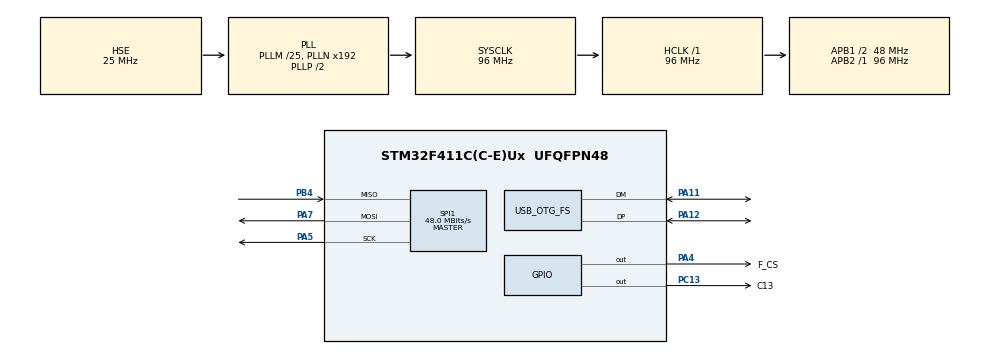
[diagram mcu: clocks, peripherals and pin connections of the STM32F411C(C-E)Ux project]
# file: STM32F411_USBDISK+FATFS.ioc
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FATFS._CODE_PAGE=936
FATFS._LFN_UNICODE=0
FATFS._MAX_SS=4096
FATFS._MIN_SS=4096
FATFS._STRF_ENCODE=0
FATFS._USE_LFN=2
FREERTOS.HEAP_NUMBER=4
FREERTOS.Tasks01=defaultTask,0,512,StartDefaultTask,Default,NULL,Dynamic,NULL,NULL
FREERTOS.configTOTAL_HEAP_SIZE=15360
Mcu.Family=STM32F4
Mcu.Name=STM32F411C(C-E)Ux
Mcu.Package=UFQFPN48
NVIC.OTG_FS_IRQn=true\:5\:0\:false\:false\:true\:true\:true\:true
NVIC.PriorityGroup=NVIC_PRIORITYGROUP_4
NVIC.SPI1_IRQn=true\:5\:0\:false\:false\:true\:true\:true\:true
NVIC.TIM1_TRG_COM_TIM11_IRQn=true\:0\:0\:false\:false\:true\:false\:false\:true
NVIC.TimeBase=TIM1_TRG_COM_TIM11_IRQn
NVIC.TimeBaseIP=TIM11
PA11.Mode=Device_Only
PA11.Signal=USB_OTG_FS_DM
PA12.Mode=Device_Only
PA12.Signal=USB_OTG_FS_DP
PA13.Mode=Serial_Wire
PA13.Signal=SYS_JTMS-SWDIO
PA14.Mode=Serial_Wire
PA14.Signal=SYS_JTCK-SWCLK
PA4.GPIO_Label=F_CS
PA4.GPIO_Speed=GPIO_SPEED_FREQ_VERY_HIGH
PA4.PinState=GPIO_PIN_SET
PA4.Signal=GPIO_Output
PA5.Mode=Full_Duplex_Master
PA5.Signal=SPI1_SCK
PA7.Mode=Full_Duplex_Master
PA7.Signal=SPI1_MOSI
PB4.Mode=Full_Duplex_Master
PB4.Signal=SPI1_MISO
PC13-ANTI_TAMP.GPIO_Label=C13
PC13-ANTI_TAMP.GPIO_Speed=GPIO_SPEED_FREQ_LOW
PC13-ANTI_TAMP.PinState=GPIO_PIN_SET
PC13-ANTI_TAMP.Signal=GPIO_Output
PC14-OSC32_IN.Mode=LSE-External-Oscillator
PC14-OSC32_IN.Signal=RCC_OSC32_IN
PC15-OSC32_OUT.Mode=LSE-External-Oscillator
PC15-OSC32_OUT.Signal=RCC_OSC32_OUT
PH0\ -\ OSC_IN.Mode=HSE-External-Oscillator
PH0\ -\ OSC_IN.Signal=RCC_OSC_IN
PH1\ -\ OSC_OUT.Mode=HSE-External-Oscillator
PH1\ -\ OSC_OUT.Signal=RCC_OSC_OUT
ProjectManager.HeapSize=0x2000
ProjectManager.StackSize=0x400
ProjectManager.TargetToolchain=EWARM V8.32
RCC.48MHZClocksFreq_Value=48000000
RCC.AHBFreq_Value=96000000
RCC.APB1CLKDivider=RCC_HCLK_DIV2
RCC.APB1Freq_Value=48000000
RCC.APB1TimFreq_Value=96000000
RCC.APB2Freq_Value=96000000
RCC.APB2TimFreq_Value=96000000
RCC.CortexFreq_Value=96000000
RCC.HCLKFreq_Value=96000000
RCC.HSE_VALUE=25000000
RCC.HSI_VALUE=16000000
RCC.PLLM=25
RCC.RCC_RTC_Clock_Source=RCC_RTCCLKSOURCE_LSE
RCC.RCC_RTC_Clock_SourceVirtual=RCC_RTCCLKSOURCE_LSE
RCC.SYSCLKFreq_VALUE=96000000
RCC.SYSCLKSource=RCC_SYSCLKSOURCE_PLLCLK
RCC.VCOOutputFreq_Value=192000000
RTC.Date=5
RTC.Hours=12
RTC.Month=RTC_MONTH_NOVEMBER
RTC.WeekDay=RTC_WEEKDAY_TUESDAY
RTC.Year=19
SPI1.CalculateBaudRate=48.0 MBits/s
SPI1.Direction=SPI_DIRECTION_2LINES
SPI1.Mode=SPI_MODE_MASTER
SPI1.VirtualType=VM_MASTER
USB_DEVICE.CLASS_NAME_FS=MSC
USB_DEVICE.MANUFACTURER_STRING=WeAct
USB_DEVICE.MSC_MEDIA_PACKET=4096
USB_DEVICE.PRODUCT_STRING_MSC_FS=WeAct Mass Storage
USB_DEVICE.VirtualMode=Msc
USB_DEVICE.VirtualModeFS=Msc_FS
USB_OTG_FS.VirtualMode=Device_Only
VP_FATFS_VS_Generic.Mode=User_defined
VP_FREERTOS_VS_CMSIS_V1.Mode=CMSIS_V1
VP_RTC_VS_RTC_Activate.Mode=RTC_Enabled
VP_RTC_VS_RTC_Calendar.Mode=RTC_Calendar
VP_SYS_VS_tim11.Mode=TIM11
VP_USB_DEVICE_VS_USB_DEVICE_MSC_FS.Mode=MSC_FS
board=custom

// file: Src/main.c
/* USER CODE BEGIN Header */
/**
  ******************************************************************************
  * @file           : main.c
  * @brief          : Main program body
  ******************************************************************************
  * @attention
  *
  * <h2><center>&copy; Copyright (c) 2019 STMicroelectronics.
  * All rights reserved.</center></h2>
  *
  * This software component is licensed by ST under Ultimate Liberty license
  * SLA0044, the "License"; You may not use this file except in compliance with
  * the License. You may obtain a copy of the License at:
  *                             www.st.com/SLA0044
  *
  ******************************************************************************
  */
/* USER CODE END Header */
#include "main.h"
#include "cmsis_os.h"
#include "fatfs.h"
#include "rtc.h"
#include "spi.h"
#include "usb_device.h"
#include "gpio.h"

/* USER CODE BEGIN PV */
osThreadId initThreadHandle;

/* USER CODE END PV */

void SystemClock_Config(void);
void MX_FREERTOS_Init(void);

/* USER CODE BEGIN PFP */
static void vInitTaskCode(void const *argument);

/* USER CODE END PFP */

/* USER CODE BEGIN 0 */
 /*
  *power by WeAct Studio
  *The board with `WeAct` Logo && `version number` is our board, quality guarantee.
  *For more information please visit: https://github.com/WeActTC/MiniF4-STM32F4x1
  *更多信�?�请访问：https://gitee.com/WeActTC/MiniF4-STM32F4x1
  */
/* USER CODE END 0 */

int main(void)
{

  /* MCU Configuration--------------------------------------------------------*/

  /* Reset of all peripherals, Initializes the Flash interface and the Systick. */
  HAL_Init();

  /* Configure the system clock */
  SystemClock_Config();

  /* Initialize all configured peripherals */
  MX_GPIO_Init();
  MX_RTC_Init();
  MX_SPI1_Init();
  HAL_Delay(1000);
  MX_FATFS_Init();

  /* Call init function for freertos objects (in freertos.c) */
  MX_FREERTOS_Init();

  osThreadDef(INIT_TASK, vInitTaskCode, osPriorityNormal, 0, 1024);

  initThreadHandle = osThreadCreate(osThread(INIT_TASK), NULL);

  /* Start scheduler */
  osKernelStart();

  /* We should never get here as control is now taken by the scheduler */
  /* Infinite loop */
  while (1)
  {

  }
}

/**
  * @brief System init thread
  * @retval None
  */
/* Task to init system from the os sheaduler */
static void vInitTaskCode(void const *argument)
{
  HAL_Delay(1000);
  Create_FATFS_Init_File();

  HAL_Delay(1000);

  vTaskDelete( initThreadHandle );
}

void SystemClock_Config(void)
{
  RCC_OscInitTypeDef RCC_OscInitStruct = {0};
  RCC_ClkInitTypeDef RCC_ClkInitStruct = {0};
  RCC_PeriphCLKInitTypeDef PeriphClkInitStruct = {0};

  /** Configure the main internal regulator output voltage
  */
  __HAL_RCC_PWR_CLK_ENABLE();
  __HAL_PWR_VOLTAGESCALING_CONFIG(PWR_REGULATOR_VOLTAGE_SCALE1);
  /** Initializes the RCC Oscillators according to the specified parameters
  * in the RCC_OscInitTypeDef structure.
  */
  RCC_OscInitStruct.OscillatorType = RCC_OSCILLATORTYPE_HSE|RCC_OSCILLATORTYPE_LSE;
  RCC_OscInitStruct.HSEState = RCC_HSE_ON;
  RCC_OscInitStruct.LSEState = RCC_LSE_ON;
  RCC_OscInitStruct.PLL.PLLState = RCC_PLL_ON;
  RCC_OscInitStruct.PLL.PLLSource = RCC_PLLSOURCE_HSE;
  RCC_OscInitStruct.PLL.PLLM = 25;
  RCC_OscInitStruct.PLL.PLLN = 192;
  RCC_OscInitStruct.PLL.PLLP = RCC_PLLP_DIV2;
  RCC_OscInitStruct.PLL.PLLQ = 4;
  if (HAL_RCC_OscConfig(&RCC_OscInitStruct) != HAL_OK)
  {
    Error_Handler();
  }
  /** Initializes the CPU, AHB and APB buses clocks
  */
  RCC_ClkInitStruct.ClockType = RCC_CLOCKTYPE_HCLK|RCC_CLOCKTYPE_SYSCLK
                              |RCC_CLOCKTYPE_PCLK1|RCC_CLOCKTYPE_PCLK2;
  RCC_ClkInitStruct.SYSCLKSource = RCC_SYSCLKSOURCE_PLLCLK;
  RCC_ClkInitStruct.AHBCLKDivider = RCC_SYSCLK_DIV1;
  RCC_ClkInitStruct.APB1CLKDivider = RCC_HCLK_DIV2;
  RCC_ClkInitStruct.APB2CLKDivider = RCC_HCLK_DIV1;

  if (HAL_RCC_ClockConfig(&RCC_ClkInitStruct, FLASH_LATENCY_3) != HAL_OK)
  {
    Error_Handler();
  }
  PeriphClkInitStruct.PeriphClockSelection = RCC_PERIPHCLK_RTC;
  PeriphClkInitStruct.RTCClockSelection = RCC_RTCCLKSOURCE_LSE;
  if (HAL_RCCEx_PeriphCLKConfig(&PeriphClkInitStruct) != HAL_OK)
  {
    Error_Handler();
  }
}

 /**
  * @brief  Period elapsed callback in non blocking mode
  * @note   This function is called  when TIM11 interrupt took place, inside
  * HAL_TIM_IRQHandler(). It makes a direct call to HAL_IncTick() to increment
  * a global variable "uwTick" used as application time base.
  * @param  htim : TIM handle
  * @retval None
  */
void HAL_TIM_PeriodElapsedCallback(TIM_HandleTypeDef *htim)
{
  if (htim->Instance == TIM11) {
    HAL_IncTick();
  }
}

void Error_Handler(void)
{
}

/************************ (C) COPYRIGHT STMicroelectronics *****END OF FILE****/

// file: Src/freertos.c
/* USER CODE BEGIN Header */
/**
  ******************************************************************************
  * File Name          : freertos.c
  * Description        : Code for freertos applications
  ******************************************************************************
  * @attention
  *
  * <h2><center>&copy; Copyright (c) 2019 STMicroelectronics.
  * All rights reserved.</center></h2>
  *
  * This software component is licensed by ST under Ultimate Liberty license
  * SLA0044, the "License"; You may not use this file except in compliance with
  * the License. You may obtain a copy of the License at:
  *                             www.st.com/SLA0044
  *
  ******************************************************************************
  */
/* USER CODE END Header */

#include "FreeRTOS.h"
#include "task.h"
#include "main.h"
#include "cmsis_os.h"

osThreadId defaultTaskHandle;

void StartDefaultTask(void const * argument);

extern void MX_USB_DEVICE_Init(void);
void MX_FREERTOS_Init(void); /* (MISRA C 2004 rule 8.1) */

/* GetIdleTaskMemory prototype (linked to static allocation support) */
void vApplicationGetIdleTaskMemory( StaticTask_t **ppxIdleTaskTCBBuffer, StackType_t **ppxIdleTaskStackBuffer, uint32_t *pulIdleTaskStackSize );

/* USER CODE BEGIN GET_IDLE_TASK_MEMORY */
static StaticTask_t xIdleTaskTCBBuffer;
static StackType_t xIdleStack[configMINIMAL_STACK_SIZE];

void vApplicationGetIdleTaskMemory( StaticTask_t **ppxIdleTaskTCBBuffer, StackType_t **ppxIdleTaskStackBuffer, uint32_t *pulIdleTaskStackSize )
{
  *ppxIdleTaskTCBBuffer = &xIdleTaskTCBBuffer;
  *ppxIdleTaskStackBuffer = &xIdleStack[0];
  *pulIdleTaskStackSize = configMINIMAL_STACK_SIZE;
  /* place for user code */
}
/* USER CODE END GET_IDLE_TASK_MEMORY */

void MX_FREERTOS_Init(void) {

  /* Create the thread(s) */
  /* definition and creation of defaultTask */
  osThreadDef(defaultTask, StartDefaultTask, osPriorityNormal, 0, 512);
  defaultTaskHandle = osThreadCreate(osThread(defaultTask), NULL);

}

void StartDefaultTask(void const * argument)
{
  /* init code for USB_DEVICE */
  MX_USB_DEVICE_Init();
  /* USER CODE BEGIN StartDefaultTask */
  /* Infinite loop */

  for(;;)
  {
    osDelay(1);
		/* C13 呼吸灯测试 */
	  /* C13 Breathing Lamp test */
		static uint8_t pwmset;
		static uint16_t time;
		static uint8_t timeflag;
		static uint8_t timecount;
		/* 呼吸灯 */
		/* Breathing Lamp */
		if(timeflag == 0)
		{
			time ++;
			if(time >= 1600) timeflag = 1;
		}
		else
		{
			time --;
			if(time == 0) timeflag = 0;
		}

		/* 占空比设置 */
		/* Duty Cycle Setting */
		pwmset = time/80;

		/* 20ms 脉宽 */
		/* 20ms Pulse Width */
		if(timecount > 20) timecount = 0;
		else timecount ++;

		if(timecount >= pwmset ) HAL_GPIO_WritePin(C13_GPIO_Port,C13_Pin,GPIO_PIN_SET);
		else HAL_GPIO_WritePin(C13_GPIO_Port,C13_Pin,GPIO_PIN_RESET);
  }
  /* USER CODE END StartDefaultTask */
}

/************************ (C) COPYRIGHT STMicroelectronics *****END OF FILE****/
